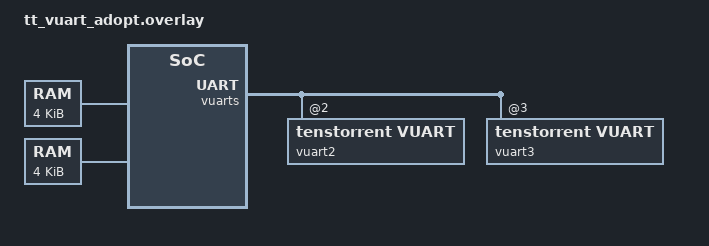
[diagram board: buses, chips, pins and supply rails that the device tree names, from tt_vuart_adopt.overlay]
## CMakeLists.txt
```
# SPDX-License-Identifier: Apache-2.0

cmake_minimum_required(VERSION 3.20.0)
find_package(Zephyr REQUIRED HINTS $ENV{ZEPHYR_BASE})
project(test_uart_tt_virt)

target_sources(app PRIVATE src/main.c)
```

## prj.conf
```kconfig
CONFIG_ZTEST=y
CONFIG_SERIAL=y
CONFIG_UART_USE_RUNTIME_CONFIGURE=y
```

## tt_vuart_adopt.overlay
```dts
/*
 * Copyright (c) 2026 Tenstorrent AI ULC
 *
 * SPDX-License-Identifier: Apache-2.0
 */

/*
 * Two deferred-init virtual UARTs for the descriptor adoption tests. Each is initialised by the
 * test itself with device_init(), so every adoption branch runs once per boot. Neither is the
 * console, so neither touches the host-visible descriptor in SCRATCH[2].
 *
 * Regions are carved from the top of ram0, directly below vuart_ram (0xc0158000).
 */
/ {
	vuarts {
		vuart2: uart_tt_virt@2 {
			compatible = "tenstorrent,vuart";
			version = <0x00000000>;
			reg = <0x2>;
			rx-cap = <1024>;
			tx-cap = <2048>;
			memory-region = <&vuart2_ram>;
			zephyr,deferred-init;
			status = "okay";
		};

		vuart3: uart_tt_virt@3 {
			compatible = "tenstorrent,vuart";
			version = <0x00000000>;
			reg = <0x3>;
			rx-cap = <1024>;
			tx-cap = <2048>;
			memory-region = <&vuart3_ram>;
			zephyr,deferred-init;
			status = "okay";
		};
	};

	vuart3_ram: memory@c0156000 {
		compatible = "mmio-sram";
		reg = <0x0 0xc0156000 0x0 0x1000>;
	};

	vuart2_ram: memory@c0157000 {
		compatible = "mmio-sram";
		reg = <0x0 0xc0157000 0x0 0x1000>;
	};
};

/* Shrink ram0 by the 8 KB taken for vuart2_ram and vuart3_ram. */
&ram0 {
	reg = <0x0 0xc0067000 0x0 0xef000>;
};
```

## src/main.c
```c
/*
 * Copyright (c) 2026 Tenstorrent AI ULC
 *
 * SPDX-License-Identifier: Apache-2.0
 */

#include <errno.h>

#include <zephyr/device.h>
#include <zephyr/drivers/uart.h>
#include <zephyr/kernel.h>
#include <zephyr/ztest.h>

#include <soc.h>
#include <tenstorrent/uart_tt_virt.h>

/* The console VUART is the device under test; configure is validated before any state changes. */
#define UART_DEV DEVICE_DT_GET(DT_CHOSEN(zephyr_console))

static const struct uart_config valid_cfg = {
	.baudrate = 115200,
	.parity = UART_CFG_PARITY_NONE,
	.stop_bits = UART_CFG_STOP_BITS_1,
	.data_bits = UART_CFG_DATA_BITS_8,
	.flow_ctrl = UART_CFG_FLOW_CTRL_RTS_CTS,
};

ZTEST_SUITE(uart_tt_virt, NULL, NULL, NULL, NULL, NULL);

/**
 * @brief A valid configuration with RTS/CTS flow control is accepted.
 * @details Positive control for the flow-control rejection test: the same call with a
 * valid value must succeed, so the rejection below is specific to the bad value.
 * @ingroup tests_uart_tt_virt
 */
ZTEST(uart_tt_virt, test_configure_valid_flow_ctrl)
{
	int err = uart_configure(UART_DEV, &valid_cfg);

	zassert_equal(err, 0, "valid configuration rejected: %d", err);
}

/**
 * @brief A flow-control value outside the enum range is rejected.
 * @details Sets flow_ctrl to 7, which is outside UART_CFG_FLOW_CTRL_NONE..RTS_CTS, and expects
 * uart_configure() to return -EINVAL. The driver validates flow control before storing the
 * configuration, so the stored settings are unchanged.
 * @ingroup tests_uart_tt_virt
 */
ZTEST(uart_tt_virt, test_configure_invalid_flow_ctrl)
{
	struct uart_config cfg = valid_cfg;
	int err;

	cfg.flow_ctrl = 7;
	err = uart_configure(UART_DEV, &cfg);

	zassert_equal(err, -EINVAL, "invalid flow_ctrl not rejected with -EINVAL: %d", err);
}

/**
 * @brief A NULL configuration is rejected.
 * @details Passes a NULL configuration pointer and expects uart_configure() to return -EINVAL
 * rather than dereference it.
 * @ingroup tests_uart_tt_virt
 */
ZTEST(uart_tt_virt, test_configure_null_config)
{
	int err = uart_configure(UART_DEV, NULL);

	zassert_equal(err, -EINVAL, "NULL configuration not rejected with -EINVAL: %d", err);
}

/**
 * @brief A stop-bits value outside the enum range is rejected.
 * @details Sets stop_bits to 7, outside UART_CFG_STOP_BITS_0_5..2, and expects uart_configure()
 * to return -EINVAL. The driver validates stop bits before storing the configuration.
 * @ingroup tests_uart_tt_virt
 */
ZTEST(uart_tt_virt, test_configure_invalid_stop_bits)
{
	struct uart_config cfg = valid_cfg;
	int err;

	cfg.stop_bits = 7;
	err = uart_configure(UART_DEV, &cfg);

	zassert_equal(err, -EINVAL, "invalid stop_bits not rejected with -EINVAL: %d", err);
}

/**
 * @brief A data-bits value outside the enum range is rejected.
 * @details Sets data_bits to 7, outside UART_CFG_DATA_BITS_5..8, and expects uart_configure()
 * to return -EINVAL. The driver validates data bits before storing the configuration.
 * @ingroup tests_uart_tt_virt
 */
ZTEST(uart_tt_virt, test_configure_invalid_data_bits)
{
	struct uart_config cfg = valid_cfg;
	int err;

	cfg.data_bits = 7;
	err = uart_configure(UART_DEV, &cfg);

	zassert_equal(err, -EINVAL, "invalid data_bits not rejected with -EINVAL: %d", err);
}

/*
 * The driver's service loop calls the callback until no interrupt is pending, so the callback
 * must clear what it serves: disable TX once it is ready and drain RX. A callback that leaves
 * the condition set keeps the timer handler spinning and blocks the test thread.
 */
static void service_uart_callback(const struct device *dev, void *user_data)
{
	uint8_t rx_buf[16];

	ARG_UNUSED(user_data);

	if (uart_irq_tx_ready(dev)) {
		uart_irq_tx_disable(dev);
	}
	if (uart_irq_rx_ready(dev)) {
		(void)uart_fifo_read(dev, rx_buf, sizeof(rx_buf));
	}
}

/**
 * @brief Interrupt enable and disable paths run with and without a callback.
 * @details Enables TX with no callback set, so the service path must run without one, then
 * disables it. Enables and disables RX and TX with a callback that services each interrupt
 * set. The callback is cleared at the end. Each call must return without faulting.
 * @ingroup tests_uart_tt_virt
 */
ZTEST(uart_tt_virt, test_irq_enable_disable_paths)
{
	uart_irq_callback_set(UART_DEV, NULL);
	uart_irq_tx_enable(UART_DEV);
	k_msleep(10);
	uart_irq_tx_disable(UART_DEV);

	uart_irq_callback_set(UART_DEV, service_uart_callback);
	uart_irq_rx_enable(UART_DEV);
	uart_irq_rx_disable(UART_DEV);
	uart_irq_tx_enable(UART_DEV);
	uart_irq_tx_disable(UART_DEV);

	uart_irq_callback_set(UART_DEV, NULL);
}

/* The version the driver compares against: the register address in the MS byte, then the
 * version property in the low 24 bits (see uart_tt_virt config in the driver).
 */
#define VUART_CFG_VERSION(node)                                                                    \
	((DT_REG_ADDR(node) << 24) | (DT_PROP(node, version) & GENMASK(23, 0)))

/* Write a descriptor header at a VUART memory region, as a previous boot stage would leave it. */
static void fill_descriptor(volatile struct tt_vuart *desc, uint32_t magic, uint32_t version,
			    uint32_t rx_cap, uint32_t tx_cap, uint32_t tx_tail)
{
	desc->magic = magic;
	desc->version = version;
	desc->rx_cap = rx_cap;
	desc->rx_head = 0;
	desc->rx_tail = 0;
	desc->tx_cap = tx_cap;
	desc->tx_head = 0;
	desc->tx_tail = tx_tail;
	desc->tx_oflow = 0;
}

/**
 * @brief A stale descriptor with the wrong TX capacity is not adopted.
 * @details Writes a descriptor whose magic, version and RX capacity match the device but whose TX
 * capacity does not, with a stale tail. Points SCRATCH[2] at it and runs the deferred init. The
 * driver must reject the descriptor and reinitialise the header: TX capacity is restored and the
 * stale tail is cleared. SCRATCH[2] is restored before the checks.
 * @ingroup tests_uart_tt_virt
 */
ZTEST(uart_tt_virt, test_adopt_mismatch_reinitialises)
{
	const struct device *dev = DEVICE_DT_GET(DT_NODELABEL(vuart2));
	volatile struct tt_vuart *desc =
		(volatile struct tt_vuart *)(uintptr_t)DT_REG_ADDR(DT_NODELABEL(vuart2_ram));
	uint32_t saved = READ_SCRATCH(2);
	int err;

	fill_descriptor(desc, DT_PROP(DT_NODELABEL(vuart2), magic),
			VUART_CFG_VERSION(DT_NODELABEL(vuart2)),
			DT_PROP(DT_NODELABEL(vuart2), rx_cap),
			0 /* wrong TX capacity */, 5 /* stale tail */);

	WRITE_SCRATCH(2, (uint32_t)(uintptr_t)desc);
	err = device_init(dev);
	WRITE_SCRATCH(2, saved);

	zassert_equal(err, 0, "deferred init failed: %d", err);
	zassert_equal(desc->tx_cap, DT_PROP(DT_NODELABEL(vuart2), tx_cap),
		      "mismatched descriptor was adopted: tx_cap=%u", desc->tx_cap);
	zassert_equal(desc->tx_tail, 0, "stale tail survived reinitialisation: %u", desc->tx_tail);
}

/**
 * @brief A matching descriptor is adopted and its buffered data is kept.
 * @details Writes a descriptor that matches the device in every field and carries a stale tail,
 * points SCRATCH[2] at it, and runs the deferred init. The driver must adopt the descriptor, so
 * the tail is left as it was. SCRATCH[2] is restored before the checks.
 * @ingroup tests_uart_tt_virt
 */
ZTEST(uart_tt_virt, test_adopt_matching_keeps_state)
{
	const struct device *dev = DEVICE_DT_GET(DT_NODELABEL(vuart3));
	volatile struct tt_vuart *desc =
		(volatile struct tt_vuart *)(uintptr_t)DT_REG_ADDR(DT_NODELABEL(vuart3_ram));
	uint32_t saved = READ_SCRATCH(2);
	int err;

	fill_descriptor(desc, DT_PROP(DT_NODELABEL(vuart3), magic),
			VUART_CFG_VERSION(DT_NODELABEL(vuart3)),
			DT_PROP(DT_NODELABEL(vuart3), rx_cap),
			DT_PROP(DT_NODELABEL(vuart3), tx_cap), 5 /* buffered data */);

	WRITE_SCRATCH(2, (uint32_t)(uintptr_t)desc);
	err = device_init(dev);
	WRITE_SCRATCH(2, saved);

	zassert_equal(err, 0, "deferred init failed: %d", err);
	zassert_equal(desc->tx_tail, 5, "matching descriptor was not adopted: tx_tail=%u",
		      desc->tx_tail);
	zassert_equal(desc->tx_cap, DT_PROP(DT_NODELABEL(vuart3), tx_cap),
		      "adopted descriptor changed tx_cap: %u", desc->tx_cap);
}
```
